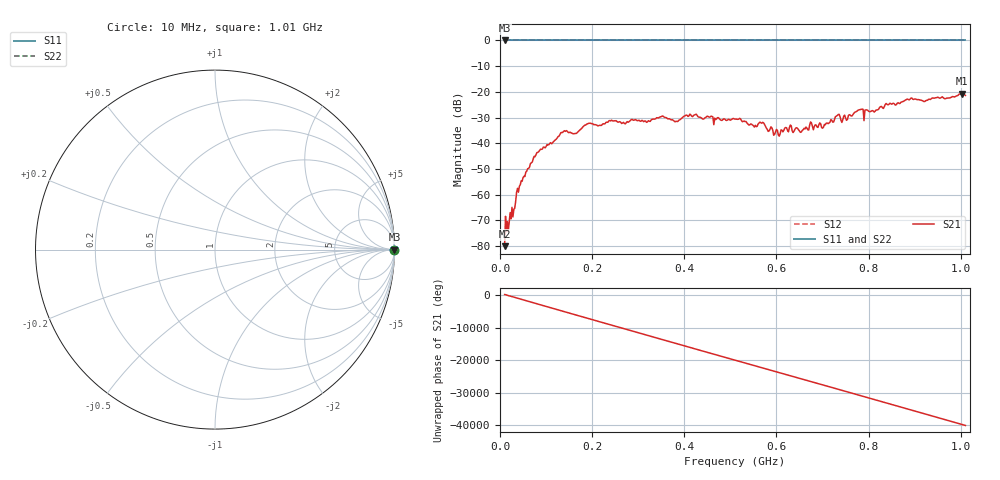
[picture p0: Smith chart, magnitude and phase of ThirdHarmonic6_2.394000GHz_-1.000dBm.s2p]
! 8/17/2025 3:54:18 AM
! C:\ANRITSUVNA\TEMP\TEMP.S2P
! CHANNEL.1
! TR.MEASUREMENT
! RAW.DATA
! RF.CORRECTION.OFF
! AVERAGING.OFF
! IF.BANDWIDTH: 5KHZ
! SWEEPTYPE:  FREQ.SWEEP(Linear)
! Reference Plane Port Info
! PORT:  PORT1  PORT2
! DISTANCE:  0  m  0  m
! TIME:  0  s  0  s
! PHASE.OFFSET:  0  deg.  0  deg.
! LOSS:  0  dB  0  dB
! REF.LOSS:  0  dB  0  dB
! REF.FREQ:  0  Hz  0  Hz
! Power Info
! POWER:  -20  dBm  -20  dBm
! EFF.POWER:  -20  dBm  -20  dBm
! SOURCE.ATTEN:  0  dB  0  dB
! TEST.ATTEN:  0  dB  0  dB
# GHZ S RI R 50.0
! FREQ.GHZ  S11RE  S11IM  S21RE  S21IM  S12RE  S12IM  S22RE  S22IM
!; PortSelection: Port_12
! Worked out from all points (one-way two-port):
!   501 points, 10 MHz to 1.01 GHz, reference 50 ohm
!   highest |S21| = -20.77 dB at 1.002 GHz (marker M1); lowest = -80.0 dB at 10 MHz (marker M2)
!   lowest |S11| = 0.0 dB at 10 MHz (marker M3)
!   |S11| at or under -10 dB: nowhere
!   |S22| runs from 0.0 to 0.0 dB; largest |S21 - S12| = 1.1
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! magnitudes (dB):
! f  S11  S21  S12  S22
! 10 MHz  0.0  -80.0  0.0  0.0
! 16 MHz  0.0  -70.5  0.0  0.0
! 28 MHz  0.0  -68.7  0.0  0.0
! 40 MHz  0.0  -59.0  0.0  0.0
! 78 MHz  0.0  -44.5  0.0  0.0
! 136 MHz  0.0  -35.8  0.0  0.0
! 162 MHz  0.0  -36.3  0.0  0.0
! 178 MHz  0.0  -34.1  0.0  0.0
! 344 MHz  0.0  -30.1  0.0  0.0
! 510 MHz  0.0  -30.6  0.0  0.0
! 554 MHz  0.0  -33.0  0.0  0.0
! 568 MHz  0.0  -32.2  0.0  0.0
! 606 MHz  0.0  -37.2  0.0  0.0
! 678 MHz  0.0  -33.5  0.0  0.0
! 702 MHz  0.0  -33.7  0.0  0.0
! 732 MHz  0.0  -29.2  0.0  0.0
! 742 MHz  0.0  -31.9  0.0  0.0
! 782 MHz  0.0  -26.9  0.0  0.0
! 814 MHz  0.0  -27.5  0.0  0.0
! 844 MHz  0.0  -24.8  0.0  0.0
! 1.002 GHz  0.0  -20.8  0.0  0.0
! 1.01 GHz  0.0  -21.4  0.0  0.0
